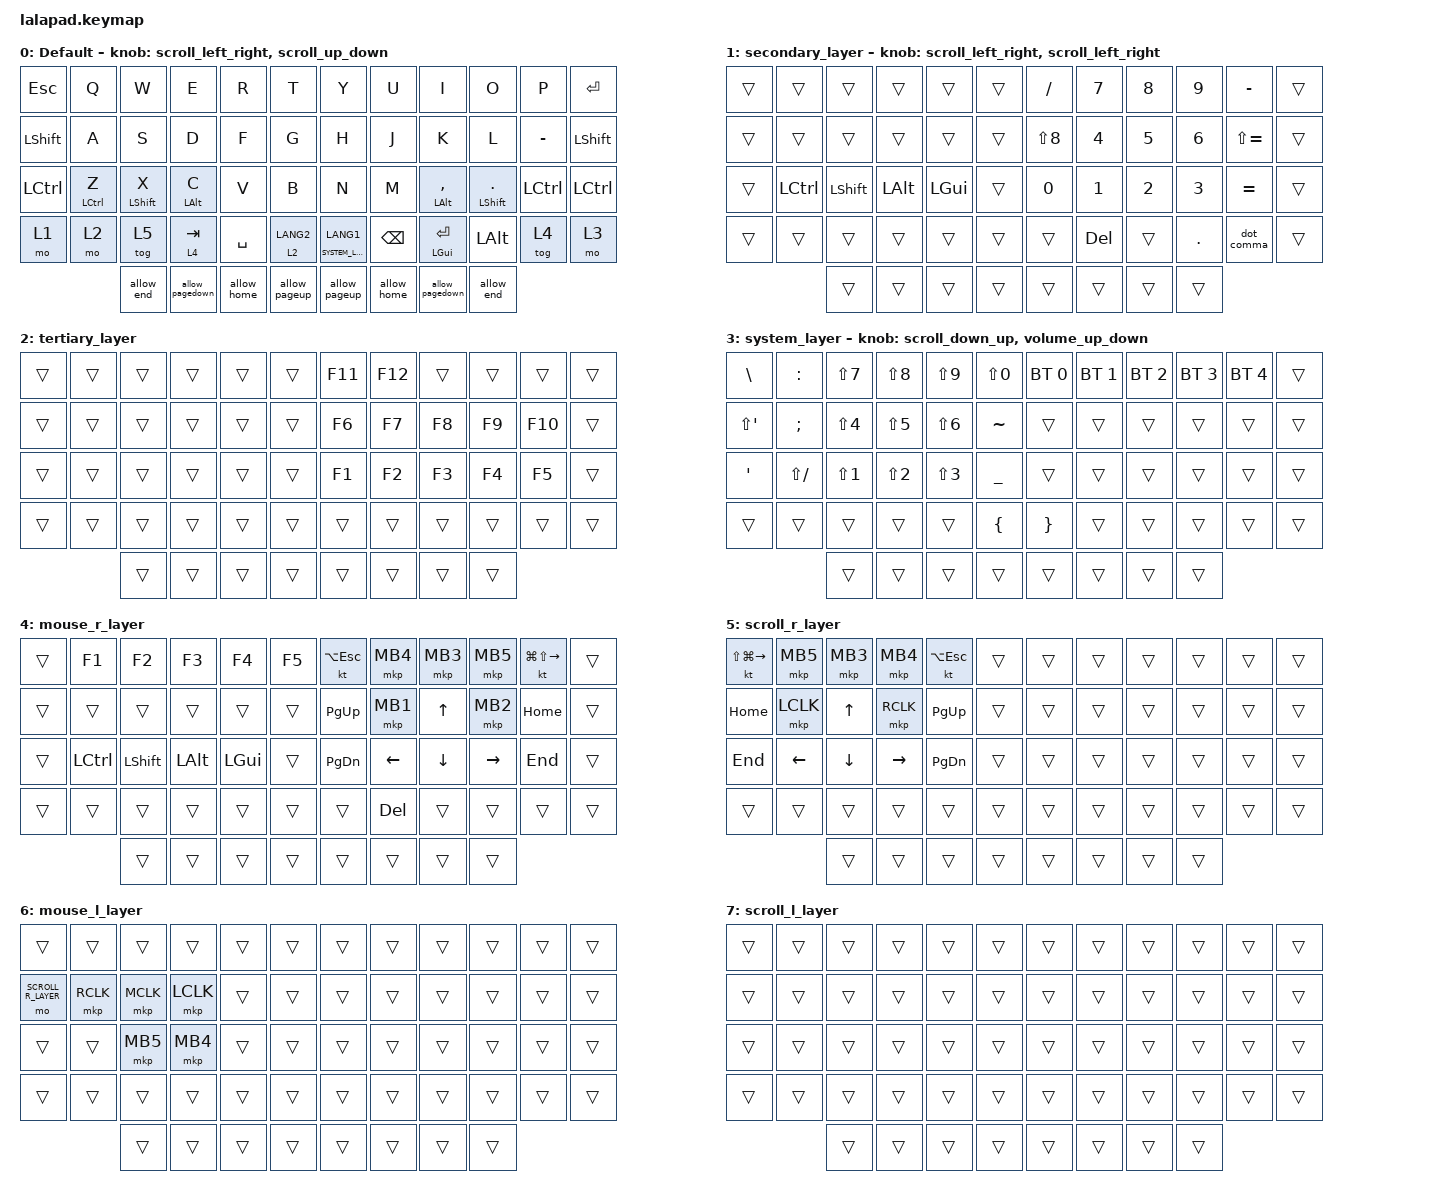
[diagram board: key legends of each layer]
#include <input/processors.dtsi>
#include <behaviors.dtsi>
#include <dt-bindings/zmk/bt.h>
#include <dt-bindings/zmk/keys.h>
#include <dt-bindings/zmk/pointing.h>

#define DEFAULT_LAYER   0
#define SECONDARY_LAYER 1
#define TERTIARY_LAYER  2
#define SYSTEM_LAYER    3
#define MOUSE_R_LAYER   4
#define SCROLL_R_LAYER  5
#define MOUSE_L_LAYER   6
#define SCROLL_L_LAYER  7

// Mouse Scroll Value

#define ZMK_POINTING_DEFAULT_SCRL_VAL 100

// cirque trackpad input&layer control

&glidepoint_listener_R {
    input-processors =
        <&zip_xy_transform (INPUT_TRANSFORM_XY_SWAP | INPUT_TRANSFORM_X_INVERT | INPUT_TRANSFORM_Y_INVERT)>,
        <&zip_xy_scaler 3 2>;

    //<&zip_temp_layer MOUSE_R_LAYER 0>;,,
    //temp-layer =<MOUSE_R_LAYER 0>;

    lowspeedmode {
        layers = <SECONDARY_LAYER>;
        input-processors =
            <&zip_xy_transform (INPUT_TRANSFORM_XY_SWAP | INPUT_TRANSFORM_X_INVERT | INPUT_TRANSFORM_Y_INVERT)>,
            <&zip_xy_scaler 3 2>;

        //<&zip_temp_layer MOUSE_R_LAYER 0>;
    };

    scroller {
        layers = <SCROLL_R_LAYER>;
        input-processors =
            <&zip_xy_to_scroll_mapper>,
            <&zip_scroll_transform (INPUT_TRANSFORM_XY_SWAP | INPUT_TRANSFORM_Y_INVERT)>,
            <&zip_scroll_scaler 1 8>;
    };
};

&glidepoint_listener_L {
    input-processors =
        <&zip_xy_transform (INPUT_TRANSFORM_XY_SWAP | INPUT_TRANSFORM_X_INVERT | INPUT_TRANSFORM_Y_INVERT)>,
        <&zip_xy_scaler 3 2>;

    //<&zip_temp_layer MOUSE_L_LAYER 500>;
    //temp-layer =<MOUSE_R_LAYER 0>;

    lowspeedmode {
        layers = <SECONDARY_LAYER>;
        input-processors =
            <&zip_xy_transform (INPUT_TRANSFORM_XY_SWAP | INPUT_TRANSFORM_X_INVERT | INPUT_TRANSFORM_Y_INVERT)>,
            <&zip_xy_scaler 3 2>;

        //<&zip_temp_layer MOUSE_L_LAYER 500>;
    };

    scroller {
        layers = <SCROLL_L_LAYER>;
        input-processors =
            <&zip_xy_to_scroll_mapper>,
            <&zip_scroll_transform (INPUT_TRANSFORM_XY_SWAP | INPUT_TRANSFORM_Y_INVERT)>,
            <&zip_scroll_scaler 1 8>;
    };
};

/ {
    behaviors {
        // Encoder to Mouse Scroll

        scroll_up_down: behavior_sensor_rotate_mouse_wheel_up_down {
            compatible = "zmk,behavior-sensor-rotate";
            #sensor-binding-cells = <0>;
            bindings = <&msc SCRL_UP>, <&msc SCRL_DOWN>;

            tap-ms = <20>;
        };

        scroll_down_up: behavior_sensor_rotate_mouse_wheel_down_up {
            compatible = "zmk,behavior-sensor-rotate";
            #sensor-binding-cells = <0>;
            bindings = <&msc SCRL_DOWN>, <&msc SCRL_UP>;

            tap-ms = <20>;
        };

        scroll_left_right: behavior_sensor_rotate_mouse_wheel_left_right {
            compatible = "zmk,behavior-sensor-rotate";
            #sensor-binding-cells = <0>;
            bindings = <&msc SCRL_LEFT>, <&msc SCRL_RIGHT>;

            tap-ms = <20>;
        };

        scroll_right_left: behavior_sensor_rotate_mouse_wheel_right_left {
            compatible = "zmk,behavior-sensor-rotate";
            #sensor-binding-cells = <0>;
            bindings = <&msc SCRL_RIGHT>, <&msc SCRL_LEFT>;

            tap-ms = <20>;
        };

        volume_up_down: behavior_sensor_rotate_volume_up_down {
            compatible = "zmk,behavior-sensor-rotate";
            #sensor-binding-cells = <0>;
            bindings = <&kp C_VOLUME_UP>, <&kp C_VOLUME_DOWN>;

            tap-ms = <20>;
        };

        dot_comma: dot_comma {
            compatible = "zmk,behavior-mod-morph";
            #binding-cells = <0>;
            bindings = <&kp KP_DOT>, <&kp COMMA>;

            mods = <(MOD_LSFT|MOD_RSFT)>;
            label = "DOT_COMMA";
        };

        pls_minus: pls_minus {
            compatible = "zmk,behavior-mod-morph";
            #binding-cells = <0>;
            bindings = <&kp PLUS>, <&kp MINUS>;

            mods = <(MOD_LSFT|MOD_RSFT)>;
            label = "PLS_MINUS";
        };

        allow_pageup: allow_pageup {
            compatible = "zmk,behavior-mod-morph";
            #binding-cells = <0>;
            bindings = <&kp UP>, <&kp PAGE_UP>;

            mods = <(MOD_LCTL|MOD_RCTL)>;
            label = "ALLOW_PAGEUP";
        };

        allow_pagedown: allow_pagedown {
            compatible = "zmk,behavior-mod-morph";
            #binding-cells = <0>;
            bindings = <&kp DOWN>, <&kp PAGE_DOWN>;

            mods = <(MOD_LCTL|MOD_RCTL)>;
            label = "ALLOW_PAGEDOWN";
        };

        allow_home: allow_home {
            compatible = "zmk,behavior-mod-morph";
            #binding-cells = <0>;
            bindings = <&kp LEFT>, <&kp HOME>;

            mods = <(MOD_LCTL|MOD_RCTL)>;
            label = "ALLOW_HOME";
        };

        allow_end: allow_end {
            compatible = "zmk,behavior-mod-morph";
            #binding-cells = <0>;
            bindings = <&kp RIGHT>, <&kp END>;

            mods = <(MOD_LCTL|MOD_RCTL)>;
            label = "ALLOW_END";
        };

        mt2: mod_tap2 {
            compatible = "zmk,behavior-hold-tap";
            #binding-cells = <2>;
            flavor = "tap-preferred";
            tapping-term-ms = <200>;
            quick-tap-ms = <150>;
            require-prior-idle-ms = <20>;
            bindings = <&kp>, <&kp>;
        };
    };

    combos {
        compatible = "zmk,combos";

        left_control {
            bindings = <&kp LEFT_CONTROL>;
            key-positions = <43 40>;
        };

        left_shift {
            bindings = <&kp LEFT_SHIFT>;
            key-positions = <44 39>;
        };

        lang1 {
            bindings = <&kp LANGUAGE_1>;
            key-positions = <19 20>;
        };

        lang2 {
            bindings = <&kp LANGUAGE_2>;
            key-positions = <16 15>;
        };
    };

    keymap {
        compatible = "zmk,keymap";

        DEFAULT_LAYER {
            display-name = "Default";
            sensor-bindings = <&scroll_left_right>, <&scroll_up_down>;

            bindings = <
&kp ESCAPE        &kp Q                &kp W              &kp E            &kp R        &kp T          &kp Y                   &kp U          &kp I                &kp O                   &kp P             &kp RET
&kp LEFT_SHIFT    &kp A                &kp S              &kp D            &kp F        &kp G          &kp H                   &kp J          &kp K                &kp L                   &kp MINUS         &kp LEFT_SHIFT
&kp LEFT_CONTROL  &mt2 LEFT_CONTROL Z  &mt2 LEFT_SHIFT X  &mt2 LEFT_ALT C  &kp V        &kp B          &kp N                   &kp M          &mt2 LEFT_ALT COMMA  &mt2 LEFT_SHIFT PERIOD  &kp LEFT_CONTROL  &kp LEFT_CONTROL
&mo 1             &mo 2                &tog 5             &lt 4 TAB        &kp SPACE    &lt 2 LANG2    &lt SYSTEM_LAYER LANG1  &kp BACKSPACE  &mt2 LEFT_GUI RET    &kp LEFT_ALT            &tog 4            &mo 3
                                       &allow_end         &allow_pagedown  &allow_home  &allow_pageup  &allow_pageup           &allow_home    &allow_pagedown      &allow_end
            >;
        };

        SECONDARY_LAYER {
            display-name = "secondary_layer";
            sensor-bindings = <&scroll_left_right>, <&scroll_left_right>;

            bindings = <
&trans  &trans            &trans          &trans        &trans        &trans  &kp SLASH   &kp N7        &kp N8        &kp N9        &kp MINUS      &trans
&trans  &trans            &trans          &trans        &trans        &trans  &kp LS(N8)  &kp NUMBER_4  &kp N5        &kp NUMBER_6  &kp LS(EQUAL)  &trans
&trans  &kp LEFT_CONTROL  &kp LEFT_SHIFT  &kp LEFT_ALT  &kp LEFT_GUI  &trans  &kp N0      &kp NUMBER_1  &kp NUMBER_2  &kp NUMBER_3  &kp EQUAL      &trans
&trans  &trans            &trans          &trans        &trans        &trans  &trans      &kp DELETE    &trans        &kp DOT       &dot_comma     &trans
                          &trans          &trans        &trans        &trans  &trans      &trans        &trans        &trans
            >;
        };

        TERTIARY_LAYER {
            display-name = "tertiary_layer";
            bindings = <
&trans  &trans  &trans  &trans  &trans  &trans  &kp F11  &kp F12  &trans  &trans  &trans   &trans
&trans  &trans  &trans  &trans  &trans  &trans  &kp F6   &kp F7   &kp F8  &kp F9  &kp F10  &trans
&trans  &trans  &trans  &trans  &trans  &trans  &kp F1   &kp F2   &kp F3  &kp F4  &kp F5   &trans
&trans  &trans  &trans  &trans  &trans  &trans  &trans   &trans   &trans  &trans  &trans   &trans
                &trans  &trans  &trans  &trans  &trans   &trans   &trans  &trans
            >;
        };

        SYSTEM_LAYER {
            display-name = "system_layer";
            sensor-bindings = <&scroll_down_up>, <&volume_up_down>;

            bindings = <
&kp BACKSLASH     &kp COLON      &kp LS(N7)  &kp LS(N8)  &kp LS(N9)  &kp LS(N0)      &bt BT_SEL 0     &bt BT_SEL 1  &bt BT_SEL 2  &bt BT_SEL 3  &bt BT_SEL 4  &trans
&kp LS(SQT)       &kp SEMI       &kp LS(N4)  &kp LS(N5)  &kp LS(N6)  &kp TILDE       &trans           &trans        &trans        &trans        &trans        &trans
&kp SINGLE_QUOTE  &kp LS(SLASH)  &kp LS(N1)  &kp LS(N2)  &kp LS(N3)  &kp UNDER       &trans           &trans        &trans        &trans        &trans        &trans
&trans            &trans         &trans      &trans      &trans      &kp LEFT_BRACE  &kp RIGHT_BRACE  &trans        &trans        &trans        &trans        &trans
                                 &trans      &trans      &trans      &trans          &trans           &trans        &trans        &trans
            >;
        };

        MOUSE_R_LAYER {
            display-name = "mouse_r_layer";
            bindings = <
&trans  &kp F1            &kp F2          &kp F3        &kp F4        &kp F5  &kt LA(ESCAPE)  &mkp MB4        &mkp MB3        &mkp MB5         &kt LG(LS(RIGHT_ARROW))  &trans
&trans  &trans            &trans          &trans        &trans        &trans  &kp PAGE_UP     &mkp MB1        &kp UP          &mkp MB2         &kp HOME                 &trans
&trans  &kp LEFT_CONTROL  &kp LEFT_SHIFT  &kp LEFT_ALT  &kp LEFT_GUI  &trans  &kp PAGE_DOWN   &kp LEFT_ARROW  &kp DOWN_ARROW  &kp RIGHT_ARROW  &kp END                  &trans
&trans  &trans            &trans          &trans        &trans        &trans  &trans          &kp DELETE      &trans          &trans           &trans                   &trans
                          &trans          &trans        &trans        &trans  &trans          &trans          &trans          &trans
            >;
        };

        SCROLL_R_LAYER {
            display-name = "scroll_r_layer";
            bindings = <
&kt LS(LG(RIGHT_ARROW))  &mkp MB5        &mkp MB3        &mkp MB4         &kt LA(ESCAPE)  &trans  &trans  &trans  &trans  &trans  &trans  &trans
&kp HOME                 &mkp LCLK       &kp UP_ARROW    &mkp RCLK        &kp PAGE_UP     &trans  &trans  &trans  &trans  &trans  &trans  &trans
&kp END                  &kp LEFT_ARROW  &kp DOWN_ARROW  &kp RIGHT_ARROW  &kp PAGE_DOWN   &trans  &trans  &trans  &trans  &trans  &trans  &trans
&trans                   &trans          &trans          &trans           &trans          &trans  &trans  &trans  &trans  &trans  &trans  &trans
                                         &trans          &trans           &trans          &trans  &trans  &trans  &trans  &trans
            >;
        };

        MOUSE_L_LAYER {
            display-name = "mouse_l_layer";
            bindings = <
&trans              &trans     &trans     &trans     &trans  &trans  &trans  &trans  &trans  &trans  &trans  &trans
&mo SCROLL_R_LAYER  &mkp RCLK  &mkp MCLK  &mkp LCLK  &trans  &trans  &trans  &trans  &trans  &trans  &trans  &trans
&trans              &trans     &mkp MB5   &mkp MB4   &trans  &trans  &trans  &trans  &trans  &trans  &trans  &trans
&trans              &trans     &trans     &trans     &trans  &trans  &trans  &trans  &trans  &trans  &trans  &trans
                               &trans     &trans     &trans  &trans  &trans  &trans  &trans  &trans
            >;
        };

        SCROLL_L_LAYER {
            display-name = "scroll_l_layer";
            bindings = <
&trans  &trans  &trans  &trans  &trans  &trans  &trans  &trans  &trans  &trans  &trans  &trans
&trans  &trans  &trans  &trans  &trans  &trans  &trans  &trans  &trans  &trans  &trans  &trans
&trans  &trans  &trans  &trans  &trans  &trans  &trans  &trans  &trans  &trans  &trans  &trans
&trans  &trans  &trans  &trans  &trans  &trans  &trans  &trans  &trans  &trans  &trans  &trans
                &trans  &trans  &trans  &trans  &trans  &trans  &trans  &trans
            >;
        };
    };
};
